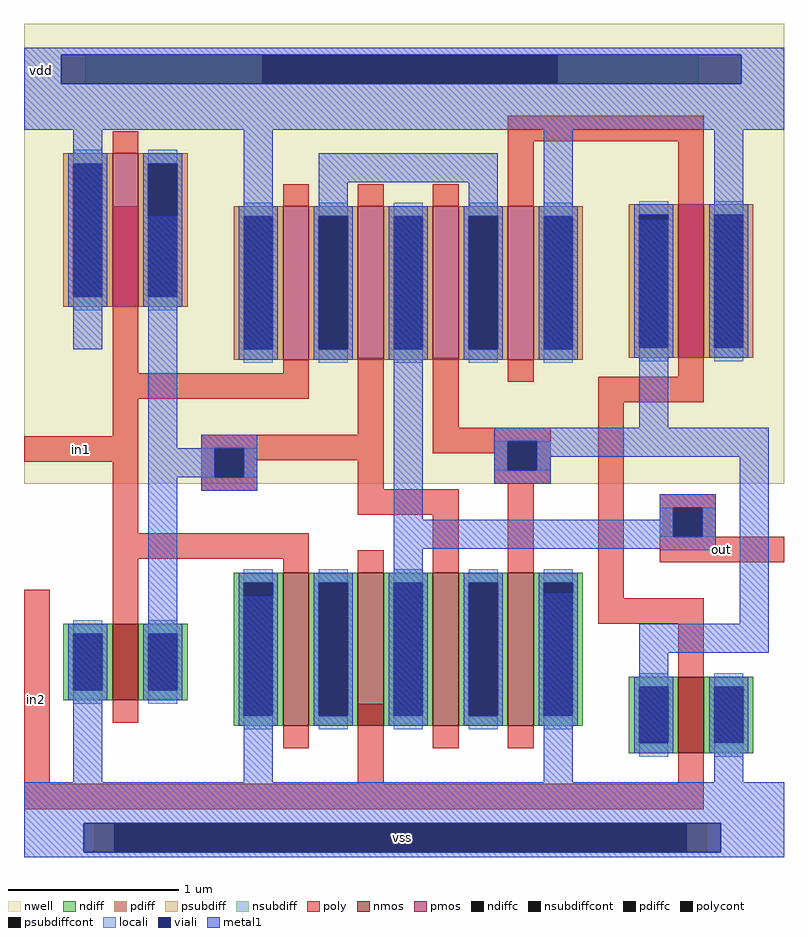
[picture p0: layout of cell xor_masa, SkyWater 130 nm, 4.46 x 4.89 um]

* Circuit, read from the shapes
.subckt xor_masa in1 in2 out vdd vss
XM1 n1 in1 vss vss sky130_fd_pr__nfet_01v8 w=0.45 l=0.15
XM2 n2 in1 vss vss sky130_fd_pr__nfet_01v8 w=0.9 l=0.15
XM3 out in2 n2 vss sky130_fd_pr__nfet_01v8 w=0.9 l=0.15
XM4 n3 n1 out vss sky130_fd_pr__nfet_01v8 w=0.9 l=0.15
XM5 vss n4 n3 vss sky130_fd_pr__nfet_01v8 w=0.9 l=0.15
XM6 vss in2 n4 vss sky130_fd_pr__nfet_01v8 w=0.45 l=0.15
XM7 n1 in1 vdd vdd sky130_fd_pr__pfet_01v8 w=0.9 l=0.15
XM8 n5 in1 vdd vdd sky130_fd_pr__pfet_01v8 w=0.9 l=0.15
XM9 out n1 n5 vdd sky130_fd_pr__pfet_01v8 w=0.9 l=0.15
XM10 n5 n4 out vdd sky130_fd_pr__pfet_01v8 w=0.9 l=0.15
XM11 vdd in2 n5 vdd sky130_fd_pr__pfet_01v8 w=0.9 l=0.15
XM12 vdd in2 n4 vdd sky130_fd_pr__pfet_01v8 w=0.9 l=0.15
.ends

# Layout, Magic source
magic
tech sky130A
magscale 1 2
<< nwell >>
rect -28 366 864 906
<< psubdiff >>
rect 54 -66 78 -32
rect 750 -66 774 -32
<< nsubdiff >>
rect 44 836 252 870
rect 598 836 764 870
<< psubdiffcont >>
rect 78 -66 750 -32
<< nsubdiffcont >>
rect 252 836 598 870
<< poly >>
rect 540 768 770 798
rect 540 692 570 768
rect 76 496 106 692
rect 76 466 306 496
rect 76 422 106 466
rect 364 424 394 514
rect -28 392 106 422
rect 76 308 106 392
rect 180 408 394 424
rect 180 374 196 408
rect 230 394 394 408
rect 452 432 482 514
rect 740 492 770 768
rect 646 462 770 492
rect 452 416 590 432
rect 452 402 540 416
rect 230 374 246 394
rect 180 358 246 374
rect 364 360 394 394
rect 524 382 540 402
rect 574 382 590 416
rect 524 366 590 382
rect 364 330 482 360
rect 76 278 306 308
rect -28 14 2 242
rect 76 86 106 278
rect 452 262 482 330
rect 540 262 570 366
rect 646 232 676 462
rect 718 338 784 354
rect 718 304 734 338
rect 768 304 784 338
rect 718 274 864 304
rect 646 202 770 232
rect 364 14 394 108
rect 740 14 770 202
rect -28 -16 770 14
<< polycont >>
rect 196 374 230 408
rect 540 382 574 416
rect 734 304 768 338
<< locali >>
rect 180 374 196 408
rect 230 374 246 408
rect 524 382 540 416
rect 574 382 590 416
rect 718 304 734 338
rect 768 304 784 338
<< viali >>
rect 16 836 252 870
rect 252 836 598 870
rect 598 836 814 870
rect 196 374 230 408
rect 540 382 574 416
rect 734 304 768 338
rect 42 -66 78 -32
rect 78 -66 750 -32
rect 750 -66 790 -32
<< metal1 >>
rect -28 870 864 878
rect -28 836 16 870
rect 814 836 864 870
rect -28 782 864 836
rect 30 524 64 782
rect 118 408 152 680
rect 230 524 264 782
rect 318 720 528 754
rect 318 680 352 720
rect 494 680 528 720
rect 180 408 246 424
rect 118 374 196 408
rect 230 374 246 408
rect 30 16 64 190
rect 118 124 152 374
rect 180 358 246 374
rect 406 324 440 680
rect 582 524 616 782
rect 694 432 728 676
rect 782 520 816 782
rect 524 416 846 432
rect 524 382 540 416
rect 574 398 846 416
rect 574 382 590 398
rect 524 366 590 382
rect 718 338 784 354
rect 718 324 734 338
rect 406 304 734 324
rect 768 304 784 338
rect 406 290 784 304
rect 230 16 264 234
rect 406 94 440 290
rect 718 288 784 290
rect 582 16 616 238
rect 812 202 846 398
rect 694 168 846 202
rect 694 64 728 168
rect 782 16 816 128
rect -28 -32 864 16
rect -28 -66 42 -32
rect 790 -66 864 -32
rect -28 -72 864 -66
use sky130_fd_pr__nfet_01v8_J83WCX  sky130_fd_pr__nfet_01v8_J83WCX_0
transform 1 0 91 0 1 188
box -73 -102 73 40
use sky130_fd_pr__nfet_01v8_H7KMG3  sky130_fd_pr__nfet_01v8_H7KMG3_2
transform 1 0 467 0 1 203
box -73 -147 73 85
use sky130_fd_pr__nfet_01v8_H7KMG3  sky130_fd_pr__nfet_01v8_H7KMG3_1
transform 1 0 379 0 1 203
box -73 -147 73 85
use sky130_fd_pr__nfet_01v8_H7KMG3  sky130_fd_pr__nfet_01v8_H7KMG3_0
transform 1 0 291 0 1 203
box -73 -147 73 85
use sky130_fd_pr__nfet_01v8_H7KMG3  sky130_fd_pr__nfet_01v8_H7KMG3_3
transform 1 0 555 0 1 203
box -73 -147 73 85
use sky130_fd_pr__nfet_01v8_J83WCX  sky130_fd_pr__nfet_01v8_J83WCX_1
transform 1 0 755 0 1 126
box -73 -102 73 40
use sky130_fd_pr__pfet_01v8_5AY9XA_masa  sky130_fd_pr__pfet_01v8_5AY9XA_masa_0
transform 1 0 91 0 1 664
box -109 -152 109 152
use sky130_fd_pr__pfet_01v8_5AY9XA_masa  sky130_fd_pr__pfet_01v8_5AY9XA_masa_1
transform 1 0 291 0 1 602
box -109 -152 109 152
use sky130_fd_pr__pfet_01v8_5AY9XA_masa  sky130_fd_pr__pfet_01v8_5AY9XA_masa_3
transform 1 0 467 0 1 602
box -109 -152 109 152
use sky130_fd_pr__pfet_01v8_5AY9XA_masa  sky130_fd_pr__pfet_01v8_5AY9XA_masa_2
transform 1 0 379 0 1 602
box -109 -152 109 152
use sky130_fd_pr__pfet_01v8_5AY9XA_masa  sky130_fd_pr__pfet_01v8_5AY9XA_masa_4
transform 1 0 555 0 1 602
box -109 -152 109 152
use sky130_fd_pr__pfet_01v8_5AY9XA_masa  sky130_fd_pr__pfet_01v8_5AY9XA_masa_5
transform 1 0 755 0 1 604
box -109 -152 109 152
<< labels >>
rlabel poly -28 -16 2 242 1 in2
rlabel metal1 42 -66 790 -32 1 vss
rlabel poly 718 274 864 304 1 out
rlabel metal1 -22 834 8 868 1 vdd
rlabel poly -28 392 106 422 1 in1
<< end >>

# cell sky130_fd_pr__nfet_01v8_J83WCX: kit device sky130_fd_pr__nfet_01v8, w 0.45 l 0.150 m 1 nf 1 diffcov 100 polycov 100 guard 0 glc 0 grc 0 gtc 0 gbc 0 tbcov 100 rlcov 100 topc 1 botc 0 poverlap 0 doverlap 1 lmin 0.15 wmin 0.42 compatible {sky130_fd_pr__nfet_01v8 sky130_fd_pr__nfet_01v8_lvt sky130_fd_bs_flash__special_sonosfet_star sky130_fd_pr__nfet_g5v0d10v5 sky130_fd_pr__nfet_05v0_nvt} full_metal 0 viasrc 100 viadrn 100 viagate 100 viagb 0 viagr 0 viagl 0 viagt 0

# cell sky130_fd_pr__nfet_01v8_H7KMG3: kit device sky130_fd_pr__nfet_01v8, w 0.9 l 0.150 m 1 nf 1 diffcov 100 polycov 100 guard 0 glc 0 grc 0 gtc 0 gbc 0 tbcov 100 rlcov 100 topc 1 botc 0 poverlap 0 doverlap 1 lmin 0.15 wmin 0.42 compatible {sky130_fd_pr__nfet_01v8 sky130_fd_pr__nfet_01v8_lvt sky130_fd_bs_flash__special_sonosfet_star sky130_fd_pr__nfet_g5v0d10v5 sky130_fd_pr__nfet_05v0_nvt} full_metal 0 viasrc 100 viadrn 100 viagate 100 viagb 0 viagr 0 viagl 0 viagt 0

# cell sky130_fd_pr__pfet_01v8_5AY9XA_masa: kit device sky130_fd_pr__pfet_01v8, w 0.9 l 0.15 m 1 nf 1 diffcov 100 polycov 100 guard 0 glc 0 grc 0 gtc 0 gbc 0 tbcov 100 rlcov 100 topc 0 botc 0 poverlap 0 doverlap 0 lmin 0.15 wmin 0.42 compatible {sky130_fd_pr__pfet_01v8 sky130_fd_pr__pfet_01v8_lvt sky130_fd_pr__pfet_01v8_hvt sky130_fd_pr__pfet_g5v0d10v5} full_metal 0 viasrc 100 viadrn 100 viagate 100 viagb 0 viagr 0 viagl 0 viagt 0
